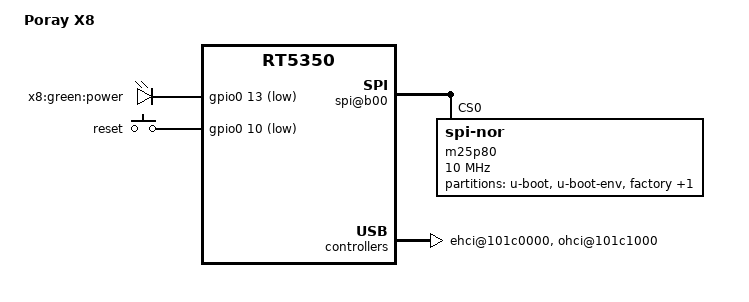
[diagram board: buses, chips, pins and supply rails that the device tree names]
/dts-v1/;

/include/ "rt5350.dtsi"

/ {
	compatible = "X8", "ralink,rt5350-soc";
	model = "Poray X8";

	palmbus@10000000 {
		spi@b00 {
			status = "okay";

			m25p80@0 {
				#address-cells = <1>;
				#size-cells = <1>;
				compatible = "jedec,spi-nor";
				reg = <0 0>;
				linux,modalias = "m25p80", "gd25q64";
				spi-max-frequency = <10000000>;

				partition@0 {
					label = "u-boot";
					reg = <0x0 0x30000>;
					read-only;
				};

				partition@30000 {
					label = "u-boot-env";
					reg = <0x30000 0x10000>;
					read-only;
				};

				factory: partition@40000 {
					label = "factory";
					reg = <0x40000 0x10000>;
					read-only;
				};

				partition@50000 {
					label = "firmware";
					reg = <0x50000 0x7b0000>;
				};
			};
		};
	};

	pinctrl {
		state_default: pinctrl0 {
			gpio {
				ralink,group = "i2c", "jtag", "uartf";
				ralink,function = "gpio";
			};
		};
	};

	ethernet@10100000 {
		mtd-mac-address = <&factory 0x4>;
	};

	esw@10110000 {
		mediatek,portmap = <0x2f>;
		mediatek,led_polarity = <1>;
	};

	gpio-leds {
		compatible = "gpio-leds";

		power {
			label = "x8:green:power";
			gpios = <&gpio0 13 1>;
		};
	};

	gpio-keys-polled {
		compatible = "gpio-keys-polled";
		#address-cells = <1>;
		#size-cells = <0>;
		poll-interval = <20>;

		reset {
			label = "reset";
			gpios = <&gpio0 10 1>;
			linux,code = <0x198>;
		};
	};

	wmac@10180000 {
		ralink,mtd-eeprom = <&factory 0>;
		ralink,led-polarity = <1>;
	};

	ehci@101c0000 {
		status = "okay";
	};

	ohci@101c1000 {
		status = "okay";
	};
};
